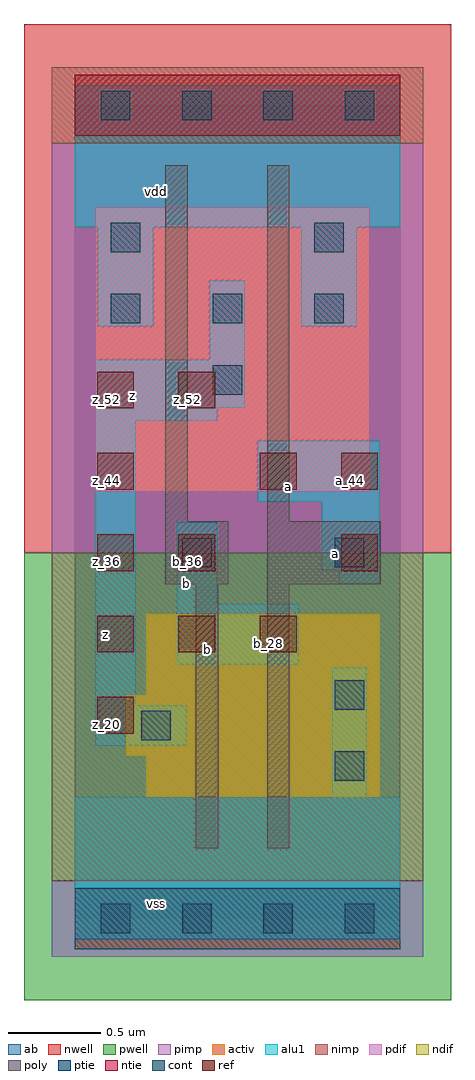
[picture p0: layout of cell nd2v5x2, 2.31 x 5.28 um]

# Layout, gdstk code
import gdstk
lib = gdstk.Library(unit=1e-6, precision=2.5e-09)
def R(c, l, rs):  # rectangles x0, y0, x1, y1
    for r in rs: c.add(gdstk.rectangle(r[:2], r[2:], *l))
def A(c, l, x, y, w, h, nx, ny, dx, dy):  # array of equal rectangles
    R(c, l, [(x+i*dx, y+j*dy, x+i*dx+w, y+j*dy+h) for i in range(nx) for j in range(ny)])
ndif = (3, 0)
pdif = (4, 0)
ntie = (5, 0)
ptie = (6, 0)
ref = (24, 0)
cont = (25, 0)
pwell = (41, 0)
nwell = (42, 0)
activ = (43, 0)
pimp = (44, 0)
nimp = (45, 0)
poly = (46, 0)
alu1 = (49, 0)
ab = (63, 0)

nd2v5x2 = lib.new_cell('nd2v5x2')
R(nd2v5x2, ndif, [(0.385,0.66,1.65,0.88), (0.275,0.88,1.65,1.21), (0.385,1.21,1.65,1.65)])
R(nd2v5x2, pdif, [(0.11,2.31,1.595,3.85)])
R(nd2v5x2, ntie, [(0,4.235,1.76,4.565)])
R(nd2v5x2, ptie, [(0,-0.165,1.76,0.165)])
A(nd2v5x2, ref, 0.12, 1.44, 0.2, 0.2, 3, 1, 0.44, 0)
A(nd2v5x2, ref, 0.12, 1.88, 0.2, 0.2, 1, 3, 0, 0.44)
R(nd2v5x2, ref, [(0.12,1,0.32,1.2), (0.56,1.88,0.76,2.08), (1.44,1.88,1.64,2.08), (1,2.32,1.2,2.52), (1.44,2.32,1.64,2.52), (0.56,2.76,0.76,2.96)])
A(nd2v5x2, cont, 0.14, -0.08, 0.16, 0.16, 4, 2, 0.44, 4.4)
A(nd2v5x2, cont, 0.195, 3.22, 0.16, 0.16, 3, 1, 0.55, 0)
R(nd2v5x2, cont, [(1.405,0.745,1.565,0.905), (0.36,0.965,0.52,1.125), (1.405,1.13,1.565,1.29), (0.58,1.9,0.74,2.06), (1.405,1.9,1.565,2.06), (0.745,2.835,0.905,2.995), (0.195,3.605,0.355,3.765), (1.295,3.605,1.455,3.765)])
R(nd2v5x2, pwell, [(-0.275,-0.44,2.035,1.98)])
R(nd2v5x2, nwell, [(-0.275,1.98,2.035,4.84)])
R(nd2v5x2, activ, [(0,-0.165,1.76,0.165), (0.385,0.66,1.65,0.88), (0.275,0.88,1.65,1.21), (0.385,1.21,1.65,1.65), (0.11,2.31,1.595,3.85), (0,4.235,1.76,4.565)])
R(nd2v5x2, pimp, [(-0.125,-0.205,1.885,0.205), (-0.125,1.98,1.885,4.195)])
R(nd2v5x2, nimp, [(-0.125,0.205,1.885,1.98), (-0.125,4.195,1.885,4.605)])
R(nd2v5x2, poly, [(0.655,0.38,0.775,1.81), (1.04,0.38,1.16,1.81), (0.49,1.81,0.83,2.15), (1.04,1.81,1.655,2.15), (0.49,2.15,0.61,4.075), (1.04,2.15,1.16,4.075)])
R(nd2v5x2, alu1, [(0,-0.11,1.76,0.66), (1.39,0.66,1.58,1.36), (0.11,0.935,0.605,1.155), (0.11,1.155,0.33,2.695), (0.55,1.375,1.21,1.705), (0.55,1.705,0.77,2.145), (1.43,1.815,1.65,1.885), (1.335,1.885,1.65,2.255), (0.99,2.255,1.65,2.585), (0.11,2.695,0.77,2.765), (0.11,2.765,0.92,3.025), (0.73,3.025,0.92,3.45), (0.125,3.205,0.425,3.74), (1.225,3.205,1.525,3.74), (0,3.74,1.76,4.51)])
R(nd2v5x2, ab, [(0,0,1.76,4.4)])
nd2v5x2.add(gdstk.Label('vss', (0.44,0.0825), layer=49, texttype=0))
nd2v5x2.add(gdstk.Label('b', (0.715,1.4575), layer=49, texttype=0))
nd2v5x2.add(gdstk.Label('a', (1.4125,1.9775), layer=49, texttype=0))
nd2v5x2.add(gdstk.Label('b', (0.605,1.815), layer=49, texttype=0))
nd2v5x2.add(gdstk.Label('a', (1.155,2.3375), layer=49, texttype=0))
nd2v5x2.add(gdstk.Label('z', (0.165,1.54), layer=49, texttype=0))
nd2v5x2.add(gdstk.Label('z', (0.3125,2.83), layer=49, texttype=0))
nd2v5x2.add(gdstk.Label('vdd', (0.44,3.9325), layer=49, texttype=0))
nd2v5x2.add(gdstk.Label('z_52', (0.17,2.81), layer=24, texttype=0))
nd2v5x2.add(gdstk.Label('b_28', (1.05,1.49), layer=24, texttype=0))
nd2v5x2.add(gdstk.Label('a_44', (1.05,2.37), layer=24, texttype=0))
nd2v5x2.add(gdstk.Label('z_44', (0.17,2.37), layer=24, texttype=0))
nd2v5x2.add(gdstk.Label('z_36', (0.17,1.93), layer=24, texttype=0))
nd2v5x2.add(gdstk.Label('z_28', (0.17,1.49), layer=24, texttype=0))
nd2v5x2.add(gdstk.Label('z_20', (0.17,1.05), layer=24, texttype=0))
nd2v5x2.add(gdstk.Label('a_44', (1.49,2.37), layer=24, texttype=0))
nd2v5x2.add(gdstk.Label('a_36', (1.49,1.93), layer=24, texttype=0))
nd2v5x2.add(gdstk.Label('z_52', (0.61,2.81), layer=24, texttype=0))
nd2v5x2.add(gdstk.Label('b_36', (0.61,1.93), layer=24, texttype=0))
nd2v5x2.add(gdstk.Label('b_28', (0.61,1.49), layer=24, texttype=0))

lib.write_gds('nd2v5x2.gds')
